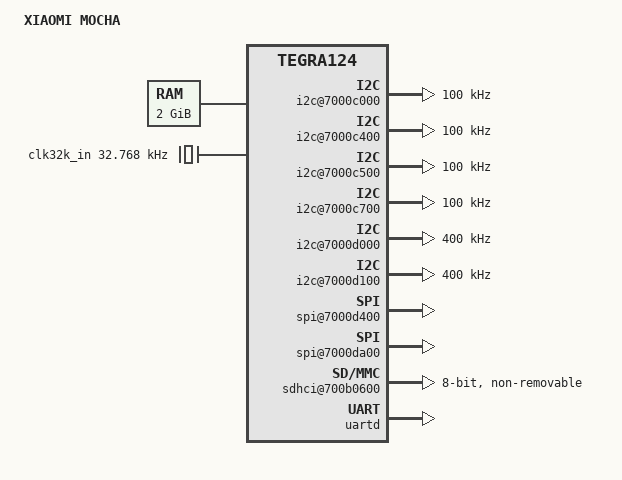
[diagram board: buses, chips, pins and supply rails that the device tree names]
/dts-v1/;

#include "tegra124.dtsi"

/ {
	model = "XIAOMI MOCHA";
	compatible = "nvidia,mocha", "nvidia,tegra124";

	chosen {
		stdout-path = &uartd;
	};

	aliases {
		i2c0 = "/i2c@7000d000";
		i2c1 = "/i2c@7000c000";
		i2c2 = "/i2c@7000c400";
		i2c3 = "/i2c@7000c500";
		i2c4 = "/i2c@7000c700";
		mmc0 = "/sdhci@700b0600";
		spi0 = "/spi@7000d400";
		spi1 = "/spi@7000da00";
	};

	memory {
		device_type = "memory";
		reg = <0x80000000 0x80000000>;
	};


	i2c@7000c000 {
		status = "okay";
		clock-frequency = <100000>;
	};

	i2c@7000c400 {
		status = "okay";
		clock-frequency = <100000>;
	};

	i2c@7000c500 {
		status = "okay";
		clock-frequency = <100000>;
	};

	i2c@7000c700 {
		status = "okay";
		clock-frequency = <100000>;
	};

	/* Expansion PWR_I2C_*, on-board components */
	i2c@7000d000 {
		status = "okay";
		clock-frequency = <400000>;
	};

	i2c@7000d100 {
		status = "okay";
		clock-frequency = <400000>;
	};

	spi@7000d400 {
		status = "okay";
		spi-max-frequency = <25000000>;
	};

	spi@7000da00 {
		status = "okay";
		spi-max-frequency = <25000000>;
	};

	sdhci@700b0600 {
		status = "okay";
		bus-width = <8>;
		non-removable;
	};

	clocks {
		compatible = "simple-bus";
		#address-cells = <1>;
		#size-cells = <0>;

		clk32k_in: clock@0 {
			compatible = "fixed-clock";
			reg = <0>;
			#clock-cells = <0>;
			clock-frequency = <32768>;
		};
	};
};

&uartd {
	status = "okay";
};
